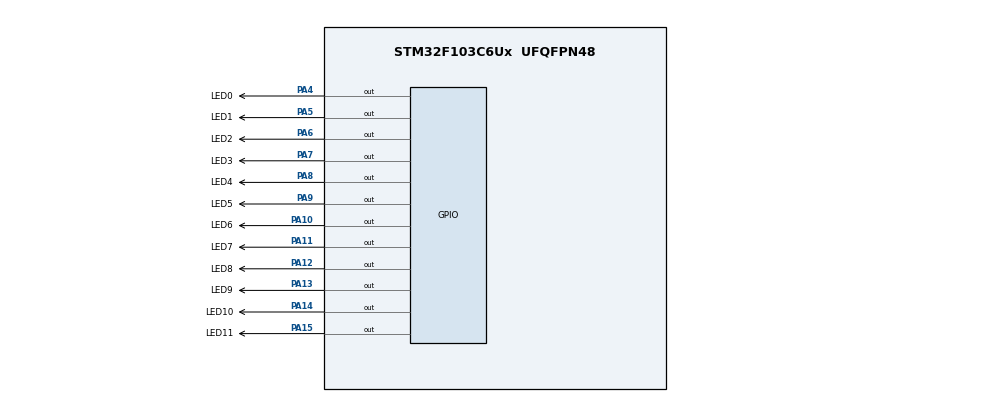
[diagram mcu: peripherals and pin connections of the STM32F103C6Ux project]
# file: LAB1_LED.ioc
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Mcu.Family=STM32F1
Mcu.Name=STM32F103C6Ux
Mcu.Package=UFQFPN48
NVIC.PriorityGroup=NVIC_PRIORITYGROUP_4
PA10.GPIO_Label=LED6
PA10.Signal=GPIO_Output
PA11.GPIO_Label=LED7
PA11.Signal=GPIO_Output
PA12.GPIO_Label=LED8
PA12.Signal=GPIO_Output
PA13.GPIO_Label=LED9
PA13.Signal=GPIO_Output
PA14.GPIO_Label=LED10
PA14.Signal=GPIO_Output
PA15.GPIO_Label=LED11
PA15.Signal=GPIO_Output
PA4.GPIO_Label=LED0
PA4.Signal=GPIO_Output
PA5.GPIO_Label=LED1
PA5.Signal=GPIO_Output
PA6.GPIO_Label=LED2
PA6.Signal=GPIO_Output
PA7.GPIO_Label=LED3
PA7.Signal=GPIO_Output
PA8.GPIO_Label=LED4
PA8.Signal=GPIO_Output
PA9.GPIO_Label=LED5
PA9.Signal=GPIO_Output
ProjectManager.HeapSize=0x200
ProjectManager.StackSize=0x400
ProjectManager.TargetToolchain=STM32CubeIDE
RCC.APB1Freq_Value=8000000
RCC.APB2Freq_Value=8000000
VP_SYS_VS_ND.Mode=No_Debug
board=custom

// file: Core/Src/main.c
/* USER CODE BEGIN Header */
/**
  ******************************************************************************
  * @file           : main.c
  * @brief          : Main program body
  ******************************************************************************
  * @attention
  *
  * <h2><center>&copy; Copyright (c) 2026 STMicroelectronics.
  * All rights reserved.</center></h2>
  *
  * This software component is licensed by ST under BSD 3-Clause license,
  * the "License"; You may not use this file except in compliance with the
  * License. You may obtain a copy of the License at:
  *                        opensource.org/licenses/BSD-3-Clause
  *
  ******************************************************************************
  */
/* USER CODE END Header */
#include "main.h"

void SystemClock_Config(void);
static void MX_GPIO_Init(void);
/* USER CODE BEGIN PFP */
void clearAllClock(void);
void setNumberOnClock(int num);
void clearNumberOnClock(int num);
/* USER CODE END PFP */

/* USER CODE BEGIN 0 */
uint16_t clock_pins[12] = {
    LED0_Pin, LED1_Pin, LED2_Pin, LED3_Pin,
    LED4_Pin, LED5_Pin, LED6_Pin, LED7_Pin,
    LED8_Pin, LED9_Pin, LED10_Pin, LED11_Pin
};

// bien dem thgian
int hour = 6;
int minute = 59;
int second = 0;
/* USER CODE END 0 */

int main(void)
{

  /* MCU Configuration--------------------------------------------------------*/

  /* Reset of all peripherals, Initializes the Flash interface and the Systick. */
  HAL_Init();

  /* Configure the system clock */
  SystemClock_Config();

  /* Initialize all configured peripherals */
  MX_GPIO_Init();
  /* USER CODE BEGIN 2 */
  // tat toan bo den truoc khi chay
  clearAllClock();
  /* USER CODE END 2 */

  /* Infinite loop */
  /* USER CODE BEGIN WHILE */
  while (1)
    {
	  // HIEN THI LED
	  clearAllClock(); // xoa trang thai cua giay truoc do
	  setNumberOnClock(hour); // bat kim gio
	  setNumberOnClock(minute / 5); // bat kim phut
	  setNumberOnClock(second / 5); // bat kim gio

	  // CAP NHAT THGIAN
	  second++;
	  if(second >= 60) {
		  second = 0;
		  minute++;
	  }

	  if (minute >= 60) {
		  minute = 0;
		  hour++;
	  }

	  if(hour >= 12) {
		  hour = 0;
	  }
	  HAL_Delay(1000);
    /* USER CODE END WHILE */
    }
}

void SystemClock_Config(void)
{
  RCC_OscInitTypeDef RCC_OscInitStruct = {0};
  RCC_ClkInitTypeDef RCC_ClkInitStruct = {0};

  /** Initializes the RCC Oscillators according to the specified parameters
  * in the RCC_OscInitTypeDef structure.
  */
  RCC_OscInitStruct.OscillatorType = RCC_OSCILLATORTYPE_HSI;
  RCC_OscInitStruct.HSIState = RCC_HSI_ON;
  RCC_OscInitStruct.HSICalibrationValue = RCC_HSICALIBRATION_DEFAULT;
  RCC_OscInitStruct.PLL.PLLState = RCC_PLL_NONE;
  if (HAL_RCC_OscConfig(&RCC_OscInitStruct) != HAL_OK)
  {
    Error_Handler();
  }
  /** Initializes the CPU, AHB and APB buses clocks
  */
  RCC_ClkInitStruct.ClockType = RCC_CLOCKTYPE_HCLK|RCC_CLOCKTYPE_SYSCLK
                              |RCC_CLOCKTYPE_PCLK1|RCC_CLOCKTYPE_PCLK2;
  RCC_ClkInitStruct.SYSCLKSource = RCC_SYSCLKSOURCE_HSI;
  RCC_ClkInitStruct.AHBCLKDivider = RCC_SYSCLK_DIV1;
  RCC_ClkInitStruct.APB1CLKDivider = RCC_HCLK_DIV1;
  RCC_ClkInitStruct.APB2CLKDivider = RCC_HCLK_DIV1;

  if (HAL_RCC_ClockConfig(&RCC_ClkInitStruct, FLASH_LATENCY_0) != HAL_OK)
  {
    Error_Handler();
  }
}

static void MX_GPIO_Init(void)
{
  GPIO_InitTypeDef GPIO_InitStruct = {0};

  /* GPIO Ports Clock Enable */
  __HAL_RCC_GPIOA_CLK_ENABLE();

  /*Configure GPIO pin Output Level */
  HAL_GPIO_WritePin(GPIOA, LED0_Pin|LED1_Pin|LED2_Pin|LED3_Pin
                          |LED4_Pin|LED5_Pin|LED6_Pin|LED7_Pin
                          |LED8_Pin|LED9_Pin|LED10_Pin|LED11_Pin, GPIO_PIN_RESET);

  /*Configure GPIO pins : LED0_Pin LED1_Pin LED2_Pin LED3_Pin
                           LED4_Pin LED5_Pin LED6_Pin LED7_Pin
                           LED8_Pin LED9_Pin LED10_Pin LED11_Pin */
  GPIO_InitStruct.Pin = LED0_Pin|LED1_Pin|LED2_Pin|LED3_Pin
                          |LED4_Pin|LED5_Pin|LED6_Pin|LED7_Pin
                          |LED8_Pin|LED9_Pin|LED10_Pin|LED11_Pin;
  GPIO_InitStruct.Mode = GPIO_MODE_OUTPUT_PP;
  GPIO_InitStruct.Pull = GPIO_NOPULL;
  GPIO_InitStruct.Speed = GPIO_SPEED_FREQ_LOW;
  HAL_GPIO_Init(GPIOA, &GPIO_InitStruct);

}

/* USER CODE BEGIN 4 */
void clearAllClock() {
	for (int i = 0; i < 12; i++) {
		HAL_GPIO_WritePin(GPIOA, clock_pins[i], GPIO_PIN_SET);
	}
}

void setNumberOnClock(int num) {
	num = num % 12; // tranh truyen sai so

	// bat bong tai vi tri num truyen vao
	HAL_GPIO_WritePin(GPIOA, clock_pins[num], GPIO_PIN_RESET);
}

void clearNumberOnClock(int num) {
	num = num % 12; // tranh truyen sai so

	// bat bong tai vi tri num truyen vao
	HAL_GPIO_WritePin(GPIOA, clock_pins[num], GPIO_PIN_SET);
}
/* USER CODE END 4 */

void Error_Handler(void)
{
  __disable_irq();
  while (1)
  {
  }
}

/************************ (C) COPYRIGHT STMicroelectronics *****END OF FILE****/
